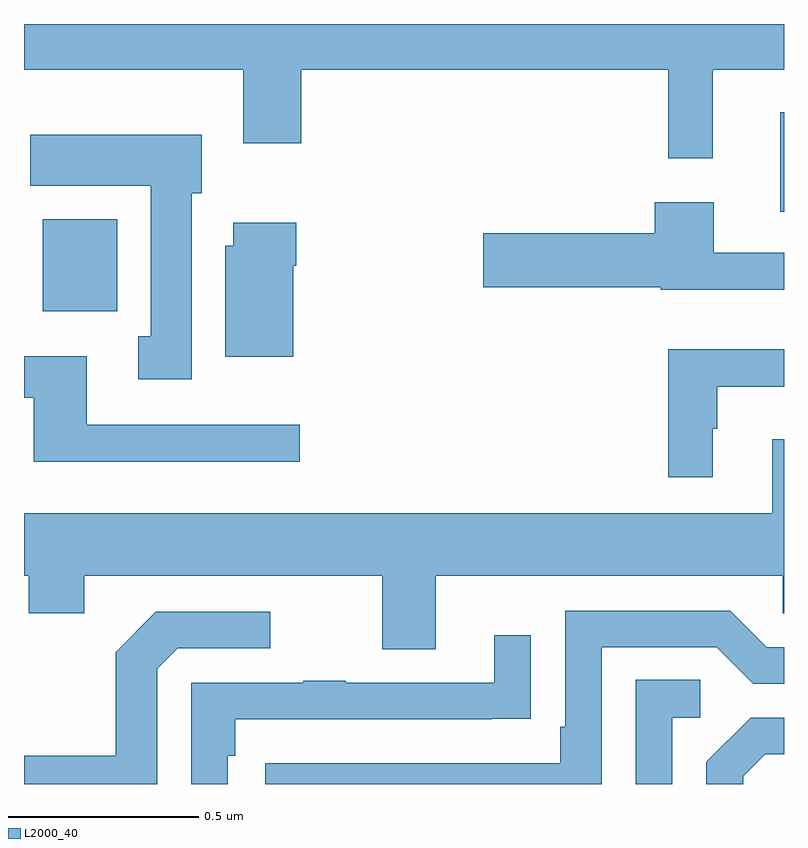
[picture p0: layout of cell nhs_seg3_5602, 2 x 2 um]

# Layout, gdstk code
import gdstk
lib = gdstk.Library(unit=1e-6, precision=1e-09)
def R(c, l, rs):  # rectangles x0, y0, x1, y1
    for r in rs: c.add(gdstk.rectangle(r[:2], r[2:], *l))
def P(c, l, *ps):  # polygons
    for p in ps: c.add(gdstk.Polygon(p, *l))
L2000_40 = (2000, 40)

nhs_seg3_5602 = lib.new_cell('nhs_seg3_5602')
R(nhs_seg3_5602, L2000_40, [(181.049,669.644,181.246,669.886), (182.99,669.906,183,670.168)])
P(nhs_seg3_5602, L2000_40, [(182.813,670.28),(183,670.28),(183,670.4),(181,670.4),(181,670.28),(181.577,670.28),(181.577,670.086),(181.73,670.086),(181.73,670.28),(182.695,670.28),(182.695,670.047),(182.813,670.047)],
  [(181.441,669.954),(181.468,669.954),(181.468,670.108),(181.017,670.108),(181.017,669.974),(181.334,669.974),(181.334,669.578),(181.301,669.578),(181.301,669.465),(181.441,669.465)],
  [(183,669.798),(182.815,669.798),(182.815,669.931),(182.66,669.931),(182.66,669.849),(182.208,669.849),(182.208,669.707),(182.676,669.707),(182.676,669.701),(183,669.701)],
  [(181.708,669.764),(181.716,669.764),(181.716,669.877),(181.55,669.877),(181.55,669.816),(181.529,669.816),(181.529,669.524),(181.708,669.524)],
  [(182.812,669.335),(182.824,669.335),(182.824,669.446),(183,669.446),(183,669.544),(182.695,669.544),(182.695,669.207),(182.812,669.207)],
  [(181.726,669.345),(181.165,669.345),(181.165,669.526),(181,669.526),(181,669.417),(181.025,669.417),(181.025,669.248),(181.726,669.248)],
  [(182.083,668.948),(182.997,668.948),(182.997,668.85),(183,668.85),(183,669.307),(182.969,669.307),(182.969,669.112),(181,669.112),(181,668.948),(181.012,668.948),(181.012,668.849),(181.159,668.849),(181.159,668.948),(181.943,668.948),(181.943,668.754),(182.083,668.754)],
  [(182.52,668.76),(182.823,668.76),(182.919,668.664),(183,668.664),(183,668.76),(182.955,668.76),(182.859,668.856),(182.424,668.856),(182.424,668.551),(182.411,668.551),(182.411,668.454),(181.635,668.454),(181.635,668.4),(182.52,668.4)],
  [(181.35,668.703),(181.404,668.757),(181.648,668.757),(181.648,668.853),(181.347,668.853),(181.242,668.747),(181.242,668.475),(181,668.475),(181,668.4),(181.35,668.4)],
  [(181.536,668.474),(181.556,668.474),(181.556,668.571),(182.231,668.571),(182.231,668.572),(182.333,668.572),(182.333,668.791),(182.237,668.791),(182.237,668.667),(181.847,668.667),(181.847,668.672),(181.735,668.672),(181.735,668.667),(181.44,668.667),(181.44,668.4),(181.536,668.4)],
  [(182.706,668.574),(182.779,668.574),(182.779,668.675),(182.61,668.675),(182.61,668.4),(182.706,668.4)],
  [(182.893,668.421),(182.95,668.478),(183,668.478),(183,668.574),(182.912,668.574),(182.796,668.458),(182.796,668.4),(182.893,668.4)])

lib.write_gds('nhs_seg3_5602.gds')
